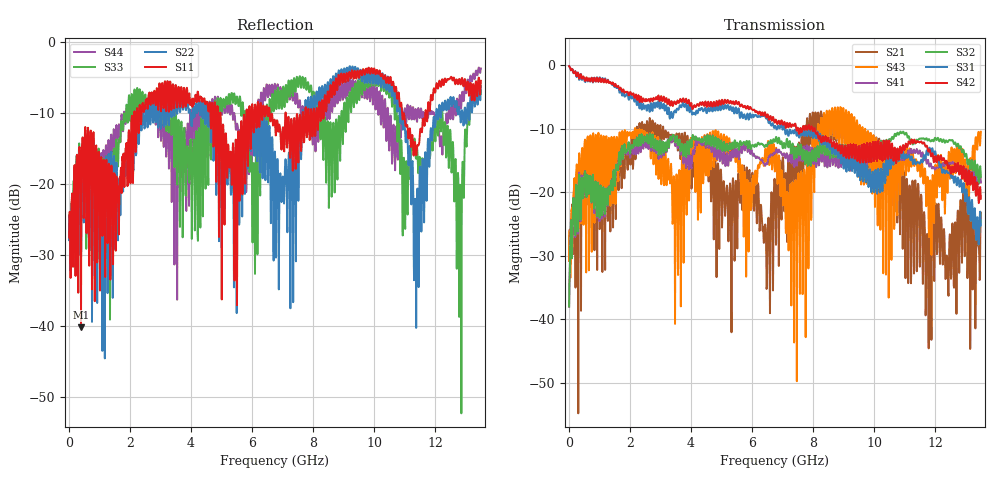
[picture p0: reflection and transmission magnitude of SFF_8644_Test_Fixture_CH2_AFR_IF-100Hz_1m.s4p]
!Keysight Technologies,N5231B,MY57181281,A.17.25.05
!Date: Friday, March 07, 2025 17:00:48
!Correction: S11(C  4-Port  )
!S12(C  4-Port  )
!S13(C  4-Port  )
!S14(C  4-Port  )
!S21(C  4-Port  )
!S22(C  4-Port  )
!S23(C  4-Port  )
!S24(C  4-Port  )
!S31(C  4-Port  )
!S32(C  4-Port  )
!S33(C  4-Port  )
!S34(C  4-Port  )
!S41(C  4-Port  )
!S42(C  4-Port  )
!S43(C  4-Port  )
!S44(C  4-Port  )
!S4P File: Measurements: <S11,S12,S13,S14>,
!<S21,S22,S23,S24>,
!<S31,S32,S33,S34>,
!<S41,S42,S43,S44>:
# Hz S  dB  R 50
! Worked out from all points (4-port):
!   1350 points, 10 MHz to 13.5 GHz, reference 50 ohm
!   strongest paths, dB at 10 MHz, 3.38 GHz, 6.76 GHz, 10.13 GHz, 13.5 GHz:
!     S42: -0.2, -6.0, -8.9, -12.2, -21.0
!     S31: -0.2, -8.0, -9.6, -16.5, -25.2
!     S32: -38.0, -11.5, -12.0, -12.5, -17.6
!     S41: -38.0, -12.0, -13.8, -14.1, -18.5
!     S43: -30.7, -19.5, -16.3, -18.1, -10.5
!     S21: -30.8, -10.9, -19.6, -16.4, -23.2
!   lowest |S11| = -40.2 dB at 400 MHz (marker M1), VSWR 1.02, Z = 50.5 - j0.867 ohm
!   |S11| at or under -10 dB: start of sweep to 2.145 GHz; 4.962 GHz to 5.82 GHz (858.2 MHz wide, 15.9 % of centre); 10.92 GHz to 11.68 GHz (761.3 MHz wide, 6.74 % of centre)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
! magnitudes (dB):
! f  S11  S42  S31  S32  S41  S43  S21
! 10 MHz  -27.5  -0.2  -0.2  -38.0  -38.0  -30.7  -30.8
! 400 MHz  -40.2  -1.5  -1.5  -22.5  -22.3  -23.5  -38.6
! 6.54 GHz  -9.9  -8.4  -9.0  -12.1  -14.6  -12.3  -24.0
! 9.97 GHz  -4.4  -12.6  -17.4  -12.6  -13.7  -11.2  -11.6
! 11.35 GHz  -14.4  -12.2  -15.4  -12.4  -13.8  -15.0  -18.1
! 12.82 GHz  -5.8  -16.2  -18.6  -12.9  -16.1  -13.2  -22.4
! 13.5 GHz  -5.5  -21.0  -25.2  -17.6  -18.5  -10.5  -23.2
